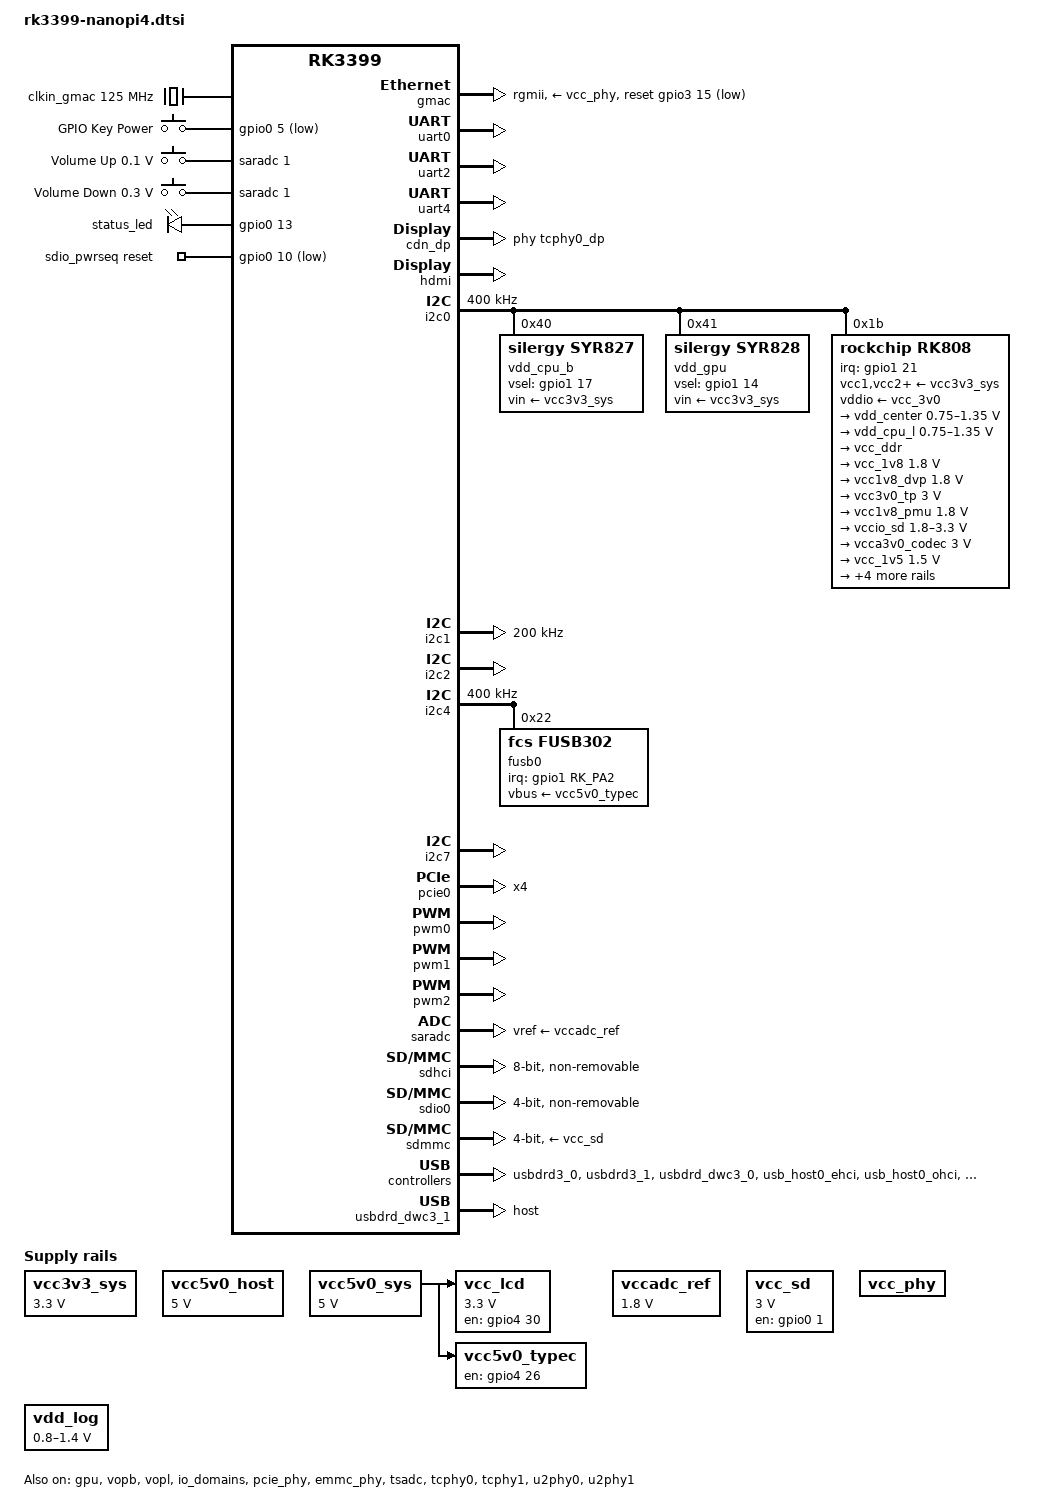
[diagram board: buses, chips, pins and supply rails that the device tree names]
// SPDX-License-Identifier: (GPL-2.0+ OR MIT)
/*
 * RK3399-based FriendlyElec boards device tree source
 *
 * Copyright (c) 2016 Fuzhou Rockchip Electronics Co., Ltd
 *
 * Copyright (c) 2018 FriendlyElec Computer Tech. Co., Ltd.
 * (http://www.friendlyarm.com)
 *
 * Copyright (c) 2018 Collabora Ltd.
 */

/dts-v1/;
#include <dt-bindings/input/linux-event-codes.h>
#include "rk3399.dtsi"
#include "rk3399-opp.dtsi"

/ {
	chosen {
		stdout-path = "serial2:1500000n8";
	};

	clkin_gmac: external-gmac-clock {
		compatible = "fixed-clock";
		clock-frequency = <125000000>;
		clock-output-names = "clkin_gmac";
		#clock-cells = <0>;
	};

	vcc3v3_sys: vcc3v3-sys {
		compatible = "regulator-fixed";
		regulator-name = "vcc3v3_sys";
		regulator-always-on;
		regulator-boot-on;
		regulator-min-microvolt = <3300000>;
		regulator-max-microvolt = <3300000>;
	};

	vcc5v0_host: vcc5v0-host-regulator {
		compatible = "regulator-fixed";
		regulator-name = "vcc5v0_host";
		regulator-always-on;
		regulator-boot-on;
		regulator-min-microvolt = <5000000>;
		regulator-max-microvolt = <5000000>;
	};

	vcc5v0_sys: vcc5v0-sys {
		compatible = "regulator-fixed";
		regulator-name = "vcc5v0_sys";
		regulator-always-on;
		regulator-boot-on;
		regulator-min-microvolt = <5000000>;
		regulator-max-microvolt = <5000000>;
	};

	vccadc_ref: vccadc-ref {
		compatible = "regulator-fixed";
		regulator-name = "vcc1v8_sys";
		regulator-always-on;
		regulator-boot-on;
		regulator-min-microvolt = <1800000>;
		regulator-max-microvolt = <1800000>;
	};

	vcc_sd: vcc-sd {
		compatible = "regulator-fixed";
		enable-active-high;
		gpio = <&gpio0 1 GPIO_ACTIVE_HIGH>;
		pinctrl-names = "default";
		pinctrl-0 = <&vcc_sd_h>;
		regulator-name = "vcc_sd";
		regulator-min-microvolt = <3000000>;
		regulator-max-microvolt = <3000000>;
	};

	vcc_phy: vcc-phy-regulator {
		compatible = "regulator-fixed";
		regulator-name = "vcc_phy";
		regulator-always-on;
		regulator-boot-on;
	};

	vcc_lcd: vcc-lcd {
		compatible = "regulator-fixed";
		regulator-name = "vcc_lcd";
		gpio = <&gpio4 30 GPIO_ACTIVE_HIGH>;
		startup-delay-us = <20000>;
		enable-active-high;
		regulator-min-microvolt = <3300000>;
		regulator-max-microvolt = <3300000>;
		regulator-boot-on;
		vin-supply = <&vcc5v0_sys>;
	};

	vcc5v0_typec: vcc5v0-typec-regulator {
		compatible = "regulator-fixed";
		enable-active-high;
		gpios = <&gpio4 26 GPIO_ACTIVE_HIGH>;
		regulator-name = "vcc5v0_typec";
		regulator-always-on;
		vin-supply = <&vcc5v0_sys>;
	};

	vdd_log: vdd-log {
		compatible = "pwm-regulator";
		pwms = <&pwm2 0 25000 1>;
		regulator-name = "vdd_log";
		regulator-min-microvolt = <800000>;
		regulator-max-microvolt = <1400000>;
		regulator-always-on;
		regulator-boot-on;

		/* for rockchip boot on */
		rockchip,pwm_id = <2>;
		rockchip,pwm_voltage = <900000>;
	};

	gpio-keys {
		compatible = "gpio-keys";
		#address-cells = <1>;
		#size-cells = <0>;
		autorepeat;

		pinctrl-names = "default";
		pinctrl-0 = <&power_key>;

		button@0 {
			gpios = <&gpio0 5 GPIO_ACTIVE_LOW>;
			linux,code = <KEY_POWER>;
			label = "GPIO Key Power";
			linux,input-type = <1>;
			gpio-key,wakeup = <1>;
			debounce-interval = <100>;
		};
	};

	adc-keys {
		compatible = "adc-keys";
		io-channels = <&saradc 1>;
		io-channel-names = "buttons";
		poll-interval = <100>;
		keyup-threshold-microvolt = <1800000>;

		button-up {
			label = "Volume Up";
			linux,code = <KEY_VOLUMEUP>;
			press-threshold-microvolt = <100000>;
		};

		button-down {
			label = "Volume Down";
			linux,code = <KEY_VOLUMEDOWN>;
			press-threshold-microvolt = <300000>;
		};
	};

	leds: gpio-leds {
		compatible = "gpio-leds";
		pinctrl-names = "default";
		pinctrl-0 =<&leds_gpio>;

		led@1 {
			gpios = <&gpio0 13 GPIO_ACTIVE_HIGH>;
			label = "status_led";
			linux,default-trigger = "heartbeat";
			linux,default-trigger-delay-ms = <0>;
		};
	};

	sdio_pwrseq: sdio-pwrseq {
		compatible = "mmc-pwrseq-simple";
		clocks = <&rk808 1>;
		clock-names = "ext_clock";
		pinctrl-names = "default";
		pinctrl-0 = <&wifi_enable_h>;

		/*
		 * On the module itself this is one of these (depending
		 * on the actual card populated):
		 * - SDIO_RESET_L_WL_REG_ON
		 * - PDN (power down when low)
		 */
		reset-gpios = <&gpio0 10 GPIO_ACTIVE_LOW>; /* GPIO0_B2 */
	};
};

&cpu_l0 {
	cpu-supply = <&vdd_cpu_l>;
};

&cpu_l1 {
	cpu-supply = <&vdd_cpu_l>;
};

&cpu_l2 {
	cpu-supply = <&vdd_cpu_l>;
};

&cpu_l3 {
	cpu-supply = <&vdd_cpu_l>;
};

&cpu_b0 {
	cpu-supply = <&vdd_cpu_b>;
};

&cpu_b1 {
	cpu-supply = <&vdd_cpu_b>;
};

&gpu {
	status = "okay";
	mali-supply = <&vdd_gpu>;
};

&gmac {
	phy-supply = <&vcc_phy>;
	phy-mode = "rgmii";
	clock_in_out = "input";
	snps,reset-gpio = <&gpio3 15 GPIO_ACTIVE_LOW>;
	snps,reset-active-low;
	snps,reset-delays-us = <0 10000 50000>;
	assigned-clocks = <&cru SCLK_RMII_SRC>;
	assigned-clock-parents = <&clkin_gmac>;
	pinctrl-names = "default";
	pinctrl-0 = <&rgmii_pins>;
	tx_delay = <0x28>;
	rx_delay = <0x11>;
	status = "okay";
};

&uart0 {
	pinctrl-names = "default";
	pinctrl-0 = <&uart0_xfer &uart0_cts>;
	status = "okay";
};

&uart2 {
	status = "okay";
};

&uart4 {
	status = "okay";
};

&vopb {
	status = "okay";
};

&vopb_mmu {
	status = "okay";
};

&vopl {
	status = "okay";
};

&vopl_mmu {
	status = "okay";
};

&rga {
	status = "disabled";
};

&cdn_dp {
// TODO: typec/fusb302 doesn't have extcon support yet
//	status = "enabled";
	extcon = <&fusb0>;
	phys = <&tcphy0_dp>;
};

&hdmi {
	ddc-i2c-bus = <&i2c7>;
	pinctrl-names = "default";
	pinctrl-0 = <&hdmi_cec>;
	status = "okay";
};

&i2c0 {
	status = "okay";
	i2c-scl-rising-time-ns = <160>;
	i2c-scl-falling-time-ns = <30>;
	clock-frequency = <400000>;

	vdd_cpu_b: syr827@40 {
		compatible = "silergy,syr827";
		reg = <0x40>;
		vin-supply = <&vcc3v3_sys>;
		regulator-compatible = "fan53555-reg";
		pinctrl-names = "default";
		pinctrl-0 = <&vsel1_gpio>;
		vsel-gpios = <&gpio1 17 GPIO_ACTIVE_HIGH>;
		regulator-name = "vdd_cpu_b";
		regulator-min-microvolt = <712500>;
		regulator-max-microvolt = <1500000>;
		regulator-ramp-delay = <1000>;
		fcs,suspend-voltage-selector = <1>;
		regulator-always-on;
		regulator-boot-on;
		regulator-initial-state = <3>;
			regulator-state-mem {
			regulator-off-in-suspend;
		};
	};

	vdd_gpu: syr828@41 {
		compatible = "silergy,syr828";
		reg = <0x41>;
		vin-supply = <&vcc3v3_sys>;
		regulator-compatible = "fan53555-reg";
		pinctrl-names = "default";
		pinctrl-0 = <&vsel2_gpio>;
		vsel-gpios = <&gpio1 14 GPIO_ACTIVE_HIGH>;
		regulator-name = "vdd_gpu";
		regulator-min-microvolt = <712500>;
		regulator-max-microvolt = <1500000>;
		regulator-ramp-delay = <1000>;
		fcs,suspend-voltage-selector = <1>;
		regulator-always-on;
		regulator-boot-on;
		regulator-initial-state = <3>;
			regulator-state-mem {
			regulator-off-in-suspend;
		};
	};

	rk808: pmic@1b {
		compatible = "rockchip,rk808";
		reg = <0x1b>;
		interrupt-parent = <&gpio1>;
		interrupts = <21 IRQ_TYPE_LEVEL_LOW>;
		pinctrl-names = "default";
		pinctrl-0 = <&pmic_int_l>;
		rockchip,system-power-controller;
		wakeup-source;
		#clock-cells = <1>;
		clock-output-names = "rk808-clkout1", "rk808-clkout2";

		vcc1-supply = <&vcc3v3_sys>;
		vcc2-supply = <&vcc3v3_sys>;
		vcc3-supply = <&vcc3v3_sys>;
		vcc4-supply = <&vcc3v3_sys>;
		vcc6-supply = <&vcc3v3_sys>;
		vcc7-supply = <&vcc3v3_sys>;
		vcc8-supply = <&vcc3v3_sys>;
		vcc9-supply = <&vcc3v3_sys>;
		vcc10-supply = <&vcc3v3_sys>;
		vcc11-supply = <&vcc3v3_sys>;
		vcc12-supply = <&vcc3v3_sys>;
		vddio-supply = <&vcc_3v0>;

		regulators {
			vdd_center: DCDC_REG1 {
				regulator-always-on;
				regulator-boot-on;
				regulator-min-microvolt = <750000>;
				regulator-max-microvolt = <1350000>;
				regulator-ramp-delay = <6001>;
				regulator-name = "vdd_center";
				regulator-state-mem {
					regulator-off-in-suspend;
				};
			};

			vdd_cpu_l: DCDC_REG2 {
				regulator-always-on;
				regulator-boot-on;
				regulator-min-microvolt = <750000>;
				regulator-max-microvolt = <1350000>;
				regulator-ramp-delay = <6001>;
				regulator-name = "vdd_cpu_l";
				regulator-state-mem {
					regulator-off-in-suspend;
				};
			};

			vcc_ddr: DCDC_REG3 {
				regulator-always-on;
				regulator-boot-on;
				regulator-name = "vcc_ddr";
				regulator-state-mem {
					regulator-on-in-suspend;
				};
			};

			vcc_1v8: DCDC_REG4 {
				regulator-always-on;
				regulator-boot-on;
				regulator-min-microvolt = <1800000>;
				regulator-max-microvolt = <1800000>;
				regulator-name = "vcc_1v8";
				regulator-state-mem {
					regulator-on-in-suspend;
					regulator-suspend-microvolt = <1800000>;
				};
			};

			vcc1v8_dvp: LDO_REG1 {
				regulator-always-on;
				regulator-boot-on;
				regulator-min-microvolt = <1800000>;
				regulator-max-microvolt = <1800000>;
				regulator-name = "vcc1v8_dvp";
				regulator-state-mem {
					regulator-off-in-suspend;
				};
			};

			vcc3v0_tp: LDO_REG2 {
				regulator-always-on;
				regulator-boot-on;
				regulator-min-microvolt = <3000000>;
				regulator-max-microvolt = <3000000>;
				regulator-name = "vcc3v0_tp";
				regulator-state-mem {
					regulator-off-in-suspend;
				};
			};

			vcc1v8_pmu: LDO_REG3 {
				regulator-always-on;
				regulator-boot-on;
				regulator-min-microvolt = <1800000>;
				regulator-max-microvolt = <1800000>;
				regulator-name = "vcc1v8_pmu";
				regulator-state-mem {
					regulator-on-in-suspend;
					regulator-suspend-microvolt = <1800000>;
				};
			};

			vccio_sd: LDO_REG4 {
				regulator-always-on;
				regulator-boot-on;
				regulator-min-microvolt = <1800000>;
				regulator-max-microvolt = <3300000>;
				regulator-init-microvolt = <3000000>;
				regulator-name = "vccio_sd";
				regulator-state-mem {
					regulator-on-in-suspend;
					regulator-suspend-microvolt = <3000000>;
				};
			};

			vcca3v0_codec: LDO_REG5 {
				regulator-always-on;
				regulator-boot-on;
				regulator-min-microvolt = <3000000>;
				regulator-max-microvolt = <3000000>;
				regulator-name = "vcca3v0_codec";
				regulator-state-mem {
					regulator-off-in-suspend;
				};
			};

			vcc_1v5: LDO_REG6 {
				regulator-always-on;
				regulator-boot-on;
				regulator-min-microvolt = <1500000>;
				regulator-max-microvolt = <1500000>;
				regulator-name = "vcc_1v5";
				regulator-state-mem {
					regulator-on-in-suspend;
					regulator-suspend-microvolt = <1500000>;
				};
			};

			vcca1v8_codec: LDO_REG7 {
				regulator-always-on;
				regulator-boot-on;
				regulator-min-microvolt = <1800000>;
				regulator-max-microvolt = <1800000>;
				regulator-name = "vcca1v8_codec";
				regulator-state-mem {
					regulator-off-in-suspend;
				};
			};

			vcc_3v0: LDO_REG8 {
				regulator-always-on;
				regulator-boot-on;
				regulator-min-microvolt = <3000000>;
				regulator-max-microvolt = <3000000>;
				regulator-name = "vcc_3v0";
				regulator-state-mem {
					regulator-on-in-suspend;
					regulator-suspend-microvolt = <3000000>;
				};
			};

			vcc3v3_s3: SWITCH_REG1 {
				regulator-always-on;
				regulator-boot-on;
				regulator-name = "vcc3v3_s3";
				regulator-state-mem {
					regulator-off-in-suspend;
				};
			};

			vcc3v3_s0: SWITCH_REG2 {
				regulator-always-on;
				regulator-boot-on;
				regulator-name = "vcc3v3_s0";
				regulator-state-mem {
					regulator-off-in-suspend;
				};
			};
		};
	};
};

&i2c1 {
	status = "okay";
	i2c-scl-rising-time-ns = <150>;
	i2c-scl-falling-time-ns = <30>;
	clock-frequency = <200000>;
};

&i2c2 {
	status = "okay";
};

&i2c4 {
	status = "okay";
	i2c-scl-rising-time-ns = <160>;
	i2c-scl-falling-time-ns = <30>;
	clock-frequency = <400000>;

	fusb0: typec-portc@22 {
		compatible = "fcs,fusb302";
		reg = <0x22>;
		interrupt-parent = <&gpio1>;
		interrupts = <RK_PA2 IRQ_TYPE_LEVEL_LOW>;
		pinctrl-names = "default";
		pinctrl-0 = <&fusb0_int>;
		vbus-supply = <&vcc5v0_typec>;
		status = "okay";
	};
};

&i2c7 {
	status = "okay";
};


&io_domains {
	status = "okay";

	bt656-supply = <&vcc1v8_dvp>;		/* bt656_gpio2ab_ms */
	audio-supply = <&vcca1v8_codec>;
	sdmmc-supply = <&vccio_sd>;		/* sdmmc_gpio4b_ms */
	gpio1830-supply = <&vcc_3v0>;		/* gpio1833_gpio4cd_ms */
};

&pmu_io_domains {
	status = "okay";
	pmu1830-supply = <&vcc_3v0>;
};

&pcie_phy {
	status = "okay";
	assigned-clocks = <&cru SCLK_PCIEPHY_REF>;
	assigned-clock-parents = <&cru SCLK_PCIEPHY_REF100M>;
	assigned-clock-rates = <100000000>;
};

&pcie0 {
	status = "okay";
	ep-gpios = <&gpio2 4 GPIO_ACTIVE_HIGH>;
	num-lanes = <4>;
	max-link-speed = <2>;
};

&pwm0 {
	status = "okay";
};

&pwm1 {
	status = "okay";
};

&pwm2 {
	status = "okay";
	pinctrl-names = "active";
	pinctrl-0 = <&pwm2_pin_pull_down>;
};

&saradc {
	status = "okay";
	vref-supply = <&vccadc_ref>; /* TBD */
};

&sdhci {
	bus-width = <8>;
	mmc-hs400-1_8v;
	supports-emmc;
	non-removable;
	keep-power-in-suspend;
	mmc-hs400-enhanced-strobe;
	status = "okay";
};

&emmc_phy {
	status = "okay";
};

&sdio0 {
	clock-frequency = <50000000>;
	clock-freq-min-max = <200000 50000000>;
	supports-sdio;
	bus-width = <4>;
	disable-wp;
	cap-sd-highspeed;
	cap-sdio-irq;
	keep-power-in-suspend;
	mmc-pwrseq = <&sdio_pwrseq>;
	non-removable;
	num-slots = <1>;
	pinctrl-names = "default";
	pinctrl-0 = <&sdio0_bus4 &sdio0_cmd &sdio0_clk>;
	sd-uhs-sdr104;
	status = "okay";
};

&sdmmc {
	clock-frequency = <150000000>;
	clock-freq-min-max = <100000 150000000>;
	supports-sd;
	bus-width = <4>;
	cap-mmc-highspeed;
	cap-sd-highspeed;
	disable-wp;
	num-slots = <1>;
	sd-uhs-sdr104;
	vmmc-supply = <&vcc_sd>;
	vqmmc-supply = <&vccio_sd>;
	pinctrl-names = "default";
	pinctrl-0 = <&sdmmc_clk &sdmmc_cmd &sdmmc_cd &sdmmc_bus4>;
	status = "okay";
};

&tsadc {
	/* tshut mode 0:CRU 1:GPIO */
	rockchip,hw-tshut-mode = <1>;
	/* tshut polarity 0:LOW 1:HIGH */
	rockchip,hw-tshut-polarity = <1>;
	status = "okay";
};

&tcphy0 {
	extcon = <&fusb0>;
	status = "okay";
};

&tcphy1 {
	status = "okay";
};

&u2phy0 {
	status = "okay";
	extcon = <&fusb0>;

	u2phy0_otg: otg-port {
		status = "okay";
	};

	u2phy0_host: host-port {
		phy-supply = <&vcc5v0_host>;
		status = "okay";
	};
};

&u2phy1 {
	status = "okay";

	u2phy1_otg: otg-port {
		status = "okay";
	};

	u2phy1_host: host-port {
		phy-supply = <&vcc5v0_host>;
		status = "okay";
	};
};

&usbdrd3_0 {
	status = "okay";
	extcon = <&fusb0>;
};

&usbdrd3_1 {
	status = "okay";
};

&usbdrd_dwc3_0 {
	status = "okay";
};

&usbdrd_dwc3_1 {
	status = "okay";
	dr_mode = "host";
};

&usb_host0_ehci {
	status = "okay";
};

&usb_host0_ohci {
	status = "okay";
};

&usb_host1_ehci {
	status = "okay";
};

&usb_host1_ohci {
	status = "okay";
};

&pinctrl {

	hdmi {
		/delete-node/ hdmi-i2c-xfer;
	};

	pmic {
		pmic_int_l: pmic-int-l {
			rockchip,pins = <1 21 RK_FUNC_GPIO &pcfg_pull_up>;
		};

		vsel1_gpio: vsel1-gpio {
			rockchip,pins = <1 17 RK_FUNC_GPIO &pcfg_pull_down>;
		};
		vsel2_gpio: vsel2-gpio {
			rockchip,pins = <1 14 RK_FUNC_GPIO &pcfg_pull_down>;
		};
	};

	vcc_sd {
		vcc_sd_h: vcc-sd-h {
			rockchip,pins = <0 1 RK_FUNC_GPIO &pcfg_pull_up>;
		};
	};

	fusb30x {
		fusb0_int: fusb0-int {
			rockchip,pins = <1 2 RK_FUNC_GPIO &pcfg_pull_up>;
		};
	};

	sdio-pwrseq {
		wifi_enable_h: wifi-enable-h {
			rockchip,pins = <0 10 RK_FUNC_GPIO &pcfg_pull_none>;
		};
	};

	rockchip-key {
		power_key: power-key {
			rockchip,pins = <0 5 RK_FUNC_GPIO &pcfg_pull_up>;
		};
	};

	gpio-leds {
		leds_gpio: leds-gpio {
			rockchip,pins = <0 13 RK_FUNC_GPIO &pcfg_pull_none>;
		};
	};
};
